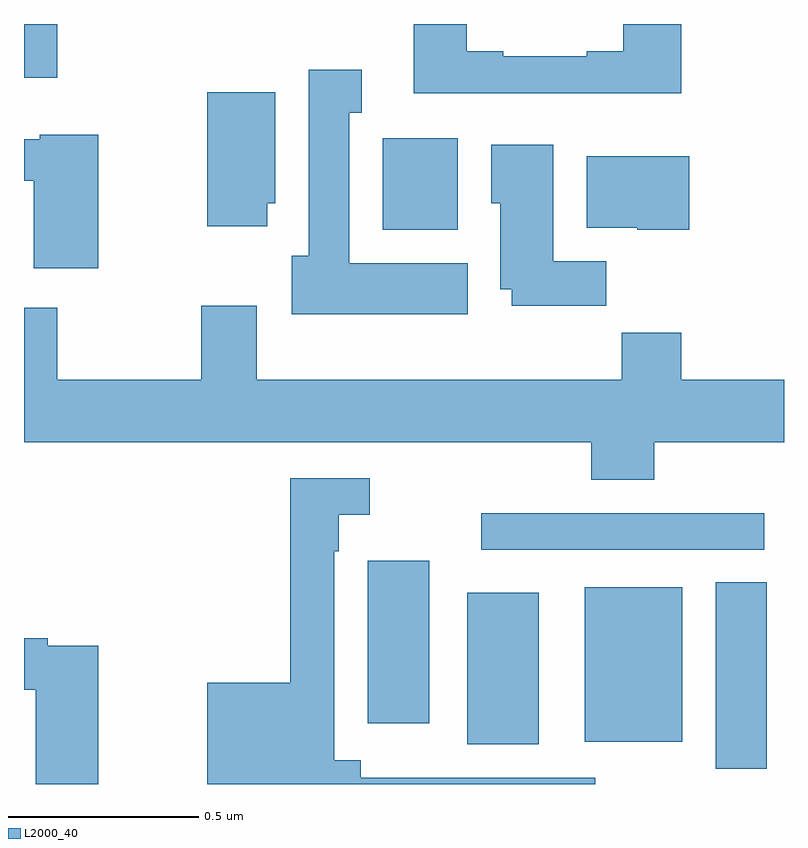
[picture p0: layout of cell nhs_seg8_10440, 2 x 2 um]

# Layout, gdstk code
import gdstk
lib = gdstk.Library(unit=1e-6, precision=1e-09)
def R(c, l, rs):  # rectangles x0, y0, x1, y1
    for r in rs: c.add(gdstk.rectangle(r[:2], r[2:], *l))
def P(c, l, *ps):  # polygons
    for p in ps: c.add(gdstk.Polygon(p, *l))
L2000_40 = (2000, 40)

nhs_seg8_10440 = lib.new_cell('nhs_seg8_10440')
R(nhs_seg8_10440, L2000_40, [(250.82,1148.94,250.954,1149.431), (250.166,1149.005,250.354,1149.403), (250.475,1149.011,250.732,1149.418), (249.905,1149.06,250.066,1149.487), (250.203,1149.516,250.948,1149.612), (249.944,1150.358,250.141,1150.6), (249,1150.758,249.088,1150.9)])
P(nhs_seg8_10440, L2000_40, [(250.73,1150.9),(250.577,1150.9),(250.577,1150.828),(250.481,1150.828),(250.481,1150.815),(250.261,1150.815),(250.261,1150.828),(250.165,1150.828),(250.165,1150.9),(249.465,1150.9),(249.465,1150.899),(250.025,1150.899),(250.025,1150.718),(250.73,1150.718)],
  [(250.168,1150.27),(249.856,1150.27),(249.856,1150.667),(249.889,1150.667),(249.889,1150.78),(249.749,1150.78),(249.749,1150.29),(249.704,1150.29),(249.704,1150.136),(250.168,1150.136)],
  [(249.64,1150.428),(249.661,1150.428),(249.661,1150.72),(249.482,1150.72),(249.482,1150.368),(249.64,1150.368)],
  [(249.196,1150.609),(249.042,1150.609),(249.042,1150.597),(249,1150.597),(249,1150.488),(249.026,1150.488),(249.026,1150.257),(249.196,1150.257)],
  [(250.532,1150.276),(250.393,1150.276),(250.393,1150.582),(250.229,1150.582),(250.229,1150.428),(250.253,1150.428),(250.253,1150.202),(250.283,1150.202),(250.283,1150.158),(250.532,1150.158)],
  [(250.75,1150.552),(250.481,1150.552),(250.481,1150.364),(250.614,1150.364),(250.614,1150.358),(250.75,1150.358)],
  [(250.658,1149.8),(251,1149.8),(251,1149.964),(250.73,1149.964),(250.73,1150.088),(250.573,1150.088),(250.573,1149.964),(249.613,1149.964),(249.613,1150.159),(249.466,1150.159),(249.466,1149.964),(249.088,1149.964),(249.088,1150.153),(249,1150.153),(249,1149.8),(250.493,1149.8),(250.493,1149.701),(250.658,1149.701)],
  [(250.503,1148.916),(249.886,1148.916),(249.886,1148.962),(249.816,1148.962),(249.816,1149.512),(249.828,1149.512),(249.828,1149.609),(249.91,1149.609),(249.91,1149.705),(249.7,1149.705),(249.7,1149.166),(249.482,1149.166),(249.482,1148.9),(250.503,1148.9)],
  [(249.196,1149.264),(249.062,1149.264),(249.062,1149.284),(249,1149.284),(249,1149.148),(249.031,1149.148),(249.031,1148.9),(249.196,1148.9)])

lib.write_gds('nhs_seg8_10440.gds')
